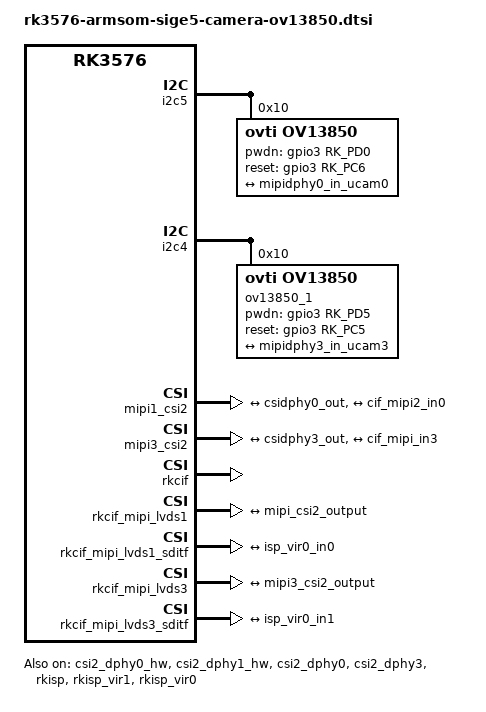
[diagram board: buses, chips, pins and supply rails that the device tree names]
&i2c5 {//J12
	status = "okay";
	pinctrl-names = "default";
	pinctrl-0 = <&i2c5m3_xfer>;
	ov13850: ov13850@10{
		status = "okay";
		compatible = "ovti,ov13850";
		reg = <0x10>;
		clocks = <&cru CLK_MIPI_CAMERAOUT_M1>;
		clock-names = "xvclk";
		pinctrl-names = "default";
		pinctrl-0 = <&cam_clk1m0_clk1>;
		pwdn-gpios = <&gpio3 RK_PD0 GPIO_ACTIVE_HIGH>;
		reset-gpios = <&gpio3 RK_PC6 GPIO_ACTIVE_HIGH>;
		rockchip,camera-module-index = <0>;
		rockchip,camera-module-facing = "back";
		rockchip,camera-module-name = "ZC-OV13850R2A-V1";
		rockchip,camera-module-lens-name = "Largan-50064B31";
		port {
			ov13850_out0: endpoint {
				remote-endpoint = <&mipidphy0_in_ucam0>;
				data-lanes = <1 2 3 4>;
			};
		};
	};
};

&i2c4 {//J25
	status = "okay";
	pinctrl-names = "default";
	pinctrl-0 = <&i2c4m3_xfer>;
	ov13850_1: ov13850_1@10 {
		status = "okay";
		compatible = "ovti,ov13850";
		reg = <0x10>;
		clocks = <&cru CLK_MIPI_CAMERAOUT_M2>;
		clock-names = "xvclk";
		pinctrl-names = "default";
		pinctrl-0 = <&cam_clk2m0_clk2>;
		pwdn-gpios = <&gpio3 RK_PD5 GPIO_ACTIVE_HIGH>;
		reset-gpios = <&gpio3 RK_PC5 GPIO_ACTIVE_HIGH>;
		rockchip,camera-module-index = <1>;
		rockchip,camera-module-facing = "back";
		rockchip,camera-module-name = "ZC-OV13850R2A-V1";
		rockchip,camera-module-lens-name = "Largan-50064B31";
		port {
			ov13850_out1: endpoint {
				remote-endpoint = <&mipidphy3_in_ucam3>;
				data-lanes = <1 2 3 4>;
			};
		};
	};

};

&csi2_dphy0_hw {
	status = "okay";
};

&csi2_dphy1_hw {
	status = "okay";
};

&csi2_dphy0 {
	status = "okay";

	ports {
		#address-cells = <1>;
		#size-cells = <0>;

		port@0 {
			reg = <0>;
			#address-cells = <1>;
			#size-cells = <0>;

			mipidphy0_in_ucam0: endpoint@1 {
				reg = <1>;
				remote-endpoint = <&ov13850_out0>;
				data-lanes = <1 2 3 4>;
			};

		};

		port@1 {
			reg = <1>;
			#address-cells = <1>;
			#size-cells = <0>;

			csidphy0_out: endpoint@0 {
				reg = <0>;
				remote-endpoint = <&mipi2_csi2_input>;
			};
		};
	};
};

&csi2_dphy3 {
	status = "okay";

	ports {
		#address-cells = <1>;
		#size-cells = <0>;

		port@0 {
			reg = <0>;
			#address-cells = <1>;
			#size-cells = <0>;

			mipidphy3_in_ucam3: endpoint@1 {
				reg = <1>;
				remote-endpoint = <&ov13850_out1>;
				data-lanes = <1 2 3 4>;
			};

		};

		port@1 {
			reg = <1>;
			#address-cells = <1>;
			#size-cells = <0>;

			csidphy3_out: endpoint@0 {
				reg = <0>;
				remote-endpoint = <&mipi4_csi2_input>;
			};
		};
	};
};

&mipi1_csi2 {
	status = "okay";

	ports {
		#address-cells = <1>;
		#size-cells = <0>;

		port@0 {
			reg = <0>;
			#address-cells = <1>;
			#size-cells = <0>;

			mipi2_csi2_input: endpoint@1 {
				reg = <1>;
				remote-endpoint = <&csidphy0_out>;
			};
		};

		port@1 {
			reg = <1>;
			#address-cells = <1>;
			#size-cells = <0>;

			mipi_csi2_output: endpoint@0 {
				reg = <0>;
				remote-endpoint = <&cif_mipi2_in0>;
			};
		};
	};
};

&mipi3_csi2 {
	status = "okay";

	ports {
		#address-cells = <1>;
		#size-cells = <0>;

		port@0 {
			reg = <0>;
			#address-cells = <1>;
			#size-cells = <0>;

			mipi4_csi2_input: endpoint@1 {
				reg = <1>;
				remote-endpoint = <&csidphy3_out>;
			};
		};

		port@1 {
			reg = <1>;
			#address-cells = <1>;
			#size-cells = <0>;

			mipi3_csi2_output: endpoint@0 {
				reg = <0>;
				remote-endpoint = <&cif_mipi_in3>;
			};
		};
	};
};

&rkcif {
	status = "okay";
};

&rkcif_mipi_lvds1 {
	status = "okay";

	port {
		cif_mipi2_in0: endpoint {
			remote-endpoint = <&mipi_csi2_output>;
		};
	};
};

&rkcif_mipi_lvds1_sditf {
	status = "okay";

	port {
		mipi_lvds1_sditf: endpoint {
			remote-endpoint = <&isp_vir0_in0>;
		};
	};
};

&rkcif_mipi_lvds3 {
	status = "okay";

	port {
		cif_mipi_in3: endpoint {
			remote-endpoint = <&mipi3_csi2_output>;
		};
	};
};

&rkcif_mipi_lvds3_sditf {
	status = "okay";

	port {
		mipi_lvds3_sditf: endpoint {
			remote-endpoint = <&isp_vir0_in1>;
		};
	};
};

&rkcif_mmu {
	status = "okay";
};

&rkisp {
	status = "okay";
};

&rkisp_mmu {
	status = "okay";
};

&rkisp_vir1 {
	status = "okay";

	port {
		#address-cells = <1>;
		#size-cells = <0>;

		isp_vir0_in0: endpoint@0 {
			reg = <0>;
			remote-endpoint = <&mipi_lvds1_sditf>;
		};
	};
};

&rkisp_vir0 {
	status = "okay";

	port {
		#address-cells = <1>;
		#size-cells = <0>;

		isp_vir0_in1: endpoint@0 {
			reg = <0>;
			remote-endpoint = <&mipi_lvds3_sditf>;
		};
	};
};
